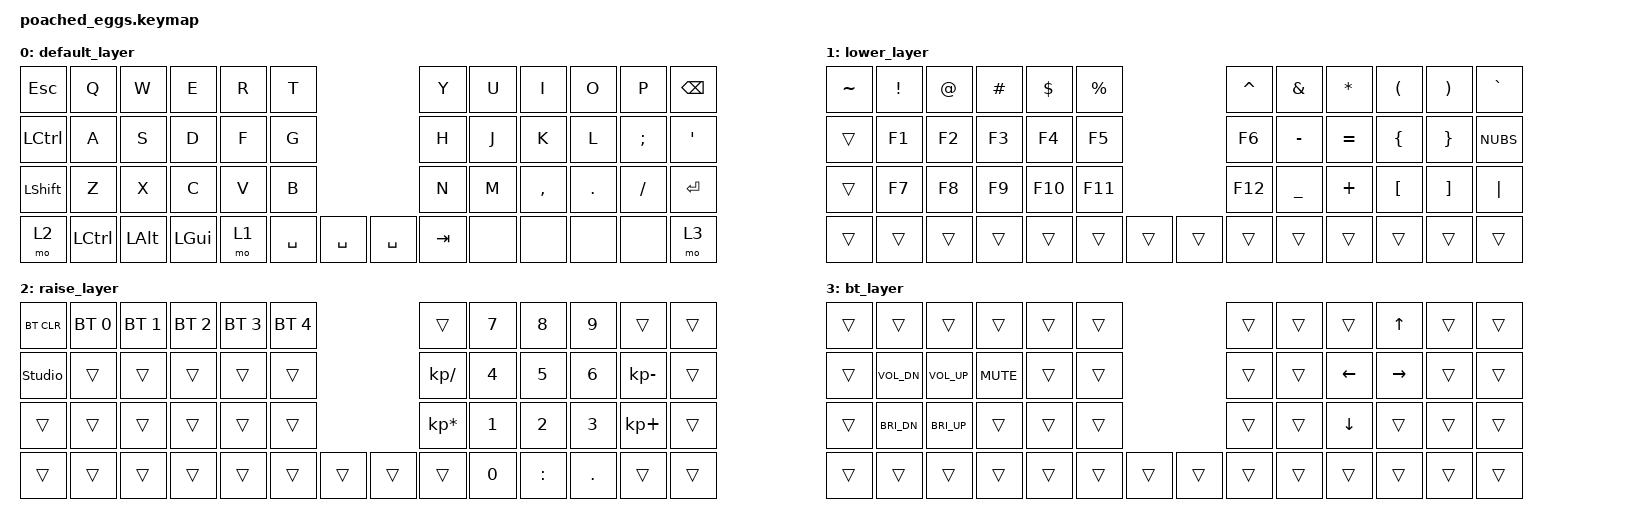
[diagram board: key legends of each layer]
#include <behaviors.dtsi>
#include <dt-bindings/zmk/bt.h>
#include <dt-bindings/zmk/keys.h>

/ {
    keymap {
        compatible = "zmk,keymap";

        default_layer {
            bindings = <
&kp ESC    &kp Q      &kp W     &kp E     &kp R  &kp T                            &kp Y    &kp U   &kp I      &kp O    &kp P     &kp BSPC
&kp LCTRL  &kp A      &kp S     &kp D     &kp F  &kp G                            &kp H    &kp J   &kp K      &kp L    &kp SEMI  &kp SQT
&kp LSHFT  &kp Z      &kp X     &kp C     &kp V  &kp B                            &kp N    &kp M   &kp COMMA  &kp DOT  &kp FSLH  &kp RET
&mo 2      &kp LCTRL  &kp LALT  &kp LGUI  &mo 1  &kp SPACE  &kp SPACE  &kp SPACE  &kp TAB  &none   &none      &none    &none     &mo 3
            >;
        };

        lower_layer {
            bindings = <
&kp TILDE  &kp EXCL  &kp AT  &kp HASH &kp DLLR &kp PRCNT                &kp CARET &kp AMPS   &kp ASTRK  &kp LPAR  &kp RPAR  &kp GRAVE
&trans     &kp F1    &kp F2  &kp F3   &kp F4   &kp F5                   &kp F6    &kp MINUS  &kp EQUAL  &kp LBRC  &kp RBRC  &kp NUBS
&trans     &kp F7    &kp F8  &kp F9   &kp F10  &kp F11                  &kp F12   &kp UNDER  &kp PLUS   &kp LBKT  &kp RBKT  &kp PIPE
&trans     &trans    &trans  &trans   &trans   &trans  &trans   &trans  &trans    &trans     &trans     &trans    &trans    &trans
            >;
        };

        raise_layer {
            bindings = <
&bt BT_CLR     &bt BT_SEL 0  &bt BT_SEL 1  &bt BT_SEL 2  &bt BT_SEL 3  &bt BT_SEL 4                    &trans          &kp N7  &kp N8    &kp N9  &trans        &trans 
&studio_unlock &trans        &trans        &trans        &trans        &trans                          &kp KP_DIVIDE   &kp N4  &kp N5    &kp N6  &kp KP_MINUS  &trans
&trans         &trans        &trans        &trans        &trans        &trans                          &kp KP_MULTIPLY &kp N1  &kp N2    &kp N3  &kp KP_PLUS   &trans
&trans         &trans        &trans        &trans        &trans        &trans        &trans    &trans  &trans          &kp N0  &kp COLON &kp DOT &trans        &trans
            >;
        };

        bt_layer {
            bindings = <
&trans  &trans       &trans        &trans      &trans  &trans                    &trans  &trans  &trans    &kp UP     &trans  &trans
&trans  &kp C_VOL_DN &kp C_VOL_UP  &kp C_MUTE  &trans  &trans                    &trans  &trans  &kp LEFT  &kp RIGHT  &trans  &trans
&trans  &kp C_BRI_DN &kp C_BRI_UP  &trans      &trans  &trans                    &trans  &trans  &kp DOWN  &trans     &trans  &trans
&trans  &trans       &trans        &trans      &trans  &trans  &trans    &trans  &trans  &trans  &trans    &trans     &trans  &trans
            >;
        };
    };
};
